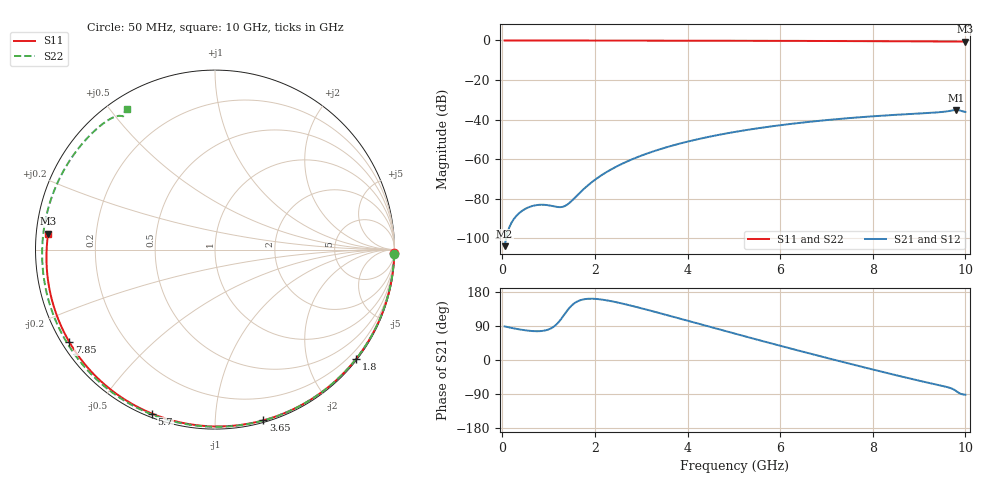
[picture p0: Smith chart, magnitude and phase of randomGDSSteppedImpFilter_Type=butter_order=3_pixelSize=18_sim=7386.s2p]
! freq	dB(S11)	phase(S11)	dB(S12)	phase(S12)
!  dB(S21)	phase(S21)	dB(S22)	phase(S22)
!S-par simulation data
#  GHz  S  DB  R 50
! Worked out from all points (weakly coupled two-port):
!   200 points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, 50 MHz to 10 GHz, reference 50 ohm
!   highest |S21| = -35.09 dB at 9.8 GHz (marker M1); lowest = -104.0 dB at 50 MHz (marker M2)
!   lowest |S11| = -0.6 dB at 10 GHz (marker M3), VSWR 29.20, Z = 1.72 + j2.38 ohm
!   |S11| at or under -10 dB: nowhere
!   |S22| runs from -0.9 to 0.0 dB; largest |S21 - S12| = 0
!   S11 on the Smith chart (normalised r, x): 50 MHz: open; 1.8 GHz: 0.03, -2.92; 3.65 GHz: 0.02, -1.32; 5.7 GHz: 0.02, -0.69; 7.85 GHz: 0.02, -0.29; 10 GHz: 0.03, +0.05
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0.05  -0.00 -1.0  -104.03 88.6  -104.03 88.6  -0.01 -1.5
0.4  -0.01 -8.5  -86.62 80.1  -86.62 80.1  -0.02 -12.1
0.75  -0.02 -15.9  -83.23 75.9  -83.23 75.9  -0.03 -22.7
1.55  -0.04 -32.7  -79.93 149.2  -79.93 149.2  -0.06 -46.1
1.75  -0.05 -36.8  -75.32 159.9  -75.32 159.9  -0.06 -51.8
1.8  -0.05 -37.8  -74.26 160.9  -74.26 160.9  -0.07 -53.2
2.1  -0.06 -43.9  -68.81 160.2  -68.81 160.2  -0.08 -61.5
2.45  -0.07 -50.9  -63.96 152.8  -63.96 152.8  -0.09 -71.0
2.9  -0.08 -59.8  -59.17 139.8  -59.17 139.8  -0.10 -82.7
3.4  -0.09 -69.4  -55.04 123.7  -55.04 123.7  -0.12 -95.2
3.65  -0.10 -74.2  -53.31 115.4  -53.31 115.4  -0.13 -101.3
4.3  -0.12 -86.2  -49.54 93.7  -49.54 93.7  -0.15 -116.5
5.05  -0.15 -99.7  -46.14 68.7  -46.14 68.7  -0.19 -133.1
5.7  -0.19 -111.0  -43.80 47.3  -43.80 47.3  -0.22 -147.0
6.7  -0.25 -128.1  -40.97 15.2  -40.97 15.2  -0.29 -167.8
7.3  -0.30 -138.2  -39.64 -3.6  -39.64 -3.6  -0.33 179.8
7.85  -0.34 -147.5  -38.61 -20.5  -38.61 -20.5  -0.37 168.3
8.35  -0.39 -156.0  -37.81 -35.6  -37.81 -35.6  -0.41 157.7
9.15  -0.49 -170.0  -36.74 -58.8  -36.74 -58.8  -0.49 140.1
9.6  -0.54 -178.1  -35.88 -71.2  -35.88 -71.2  -0.58 129.3
9.8  -0.57 178.3  -35.09 -81.8  -35.09 -81.8  -0.85 124.9
10  -0.60 174.5  -36.13 -91.6  -36.13 -91.6  -0.69 122.2
